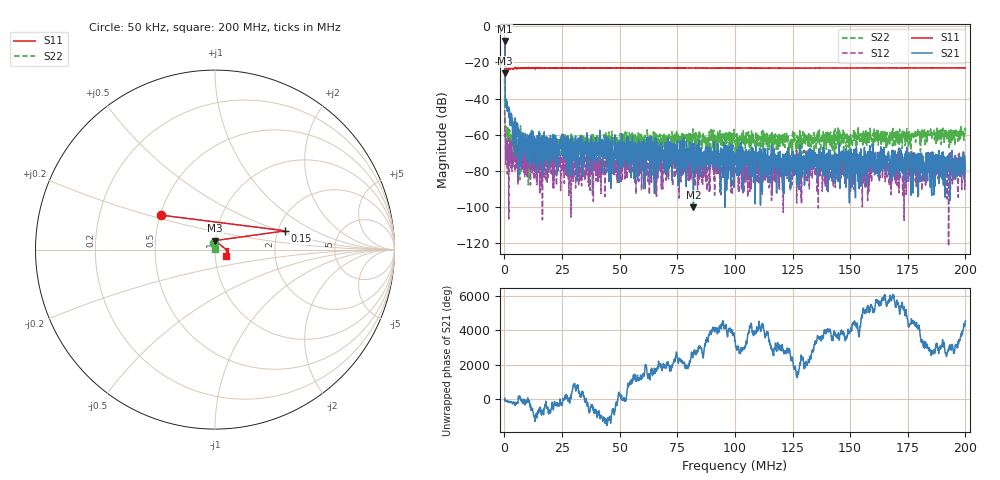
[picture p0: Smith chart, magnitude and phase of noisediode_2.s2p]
! 26-Feb-26 2:03:41 PM
! E:\VNA_MEASUREMENTS\CAL_ENDS\NOISEDIODE_2.S2P
! CHANNEL.1
! TR.MEASUREMENT
! CORRECTED.DATA
# GHZ S RI R 50.0
! FREQ.GHZ  S11RE  S11IM  S21RE  S21IM  S12RE  S12IM  S22RE  S22IM
!; PortSelection: Port_12
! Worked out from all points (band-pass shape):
!   2000 points, 50 kHz to 200 MHz, reference 50 ohm
!   highest |S21| = -8.16 dB at 50 kHz (marker M1); lowest = -100.2 dB at 81.97 MHz (marker M2)
!   |S21| within 3 dB of the highest: start of sweep to 204.8 kHz
!   lowest |S11| = -26.0 dB at 250 kHz (marker M3), VSWR 1.11, Z = 49.8 + j5.01 ohm
!   |S11| at or under -10 dB: 161.9 kHz to end of sweep
!   |S22| runs from -92.9 to -28.8 dB; largest |S21 - S12| = 0.39
!   S11 on the Smith chart (normalised r, x): 50 kHz: 0.51, +0.22; 150 kHz: 2.19, +0.55; 200 MHz: 1.12, -0.08
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5e-05  -0.2999 0.192  0.3307 0.2082  -0.0022 0.00437  -0.00716 0.0354
0.000150025  0.3913 0.1046  -0.1895 -0.273  -0.000825 -0.000513  0.00222 -0.00224
0.00025005  0.000309 0.0502  0.2241 -0.0796  0.000205 -0.000882  -0.00129 -0.00169
0.001550375  0.0701 -0.00473  -0.00501 0.000408  6.82e-05 -0.000139  0.00146 0.000484
0.004151026  0.0722 4.3e-06  -0.00108 0.00109  -0.00036 0.000117  0.000203 0.000119
0.006851701  0.0709 -0.0015  0.000371 0.000569  0.000246 -0.000104  0.000414 0.000145
0.008352076  0.0699 -0.00201  0.000331 -0.000852  -2.86e-05 0.00024  0.000882 -0.000203
0.0104526  0.0724 -0.00132  -0.000358 -0.000214  0.000165 0.000135  0.00037 -0.000165
0.0144536  0.0686 -0.004  0.00014 4.52e-05  -7.88e-05 -0.000134  0.000122 0.000299
0.03345835  0.07 -0.00669  0.000118 -0.000235  -1.11e-05 -3.67e-05  0.000887 0.000391
0.06676668  0.0681 -0.0122  -0.000176 -0.000256  -0.000202 0.000244  0.000527 0.000342
0.08197048  0.0685 -0.0145  5.1e-06 8.3e-06  4.99e-05 5.95e-05  0.000481 0.000606
0.100075  0.0676 -0.018  -0.000258 0.000167  6.08e-05 -5.07e-05  0.000594 0.000291
0.1268817  0.0655 -0.024  1.68e-05 -3.97e-05  -0.000211 -0.000297  0.000435 0.000412
0.1333833  0.0645 -0.0249  1.2e-05 -0.00038  -6.24e-05 -0.000169  0.000646 0.000453
0.140085  0.0649 -0.0265  -0.000103 0.000293  -7.94e-05 -7.59e-05  0.000795 0.000388
0.1468867  0.0645 -0.0274  -0.00033 -9.77e-05  -0.000125 -7.92e-05  0.000779 0.00108
0.1503876  0.064 -0.0288  -0.000276 -4.35e-05  -8.8e-06 -9.3e-05  0.000602 1.54e-05
0.1585896  0.0635 -0.0306  -0.000154 0.000258  0.000141 -5.17e-05  0.000585 0.000654
0.1610903  0.0631 -0.0309  -1.47e-05 -0.00021  3.38e-05 -8.07e-05  0.000777 0.00029
0.1666917  0.0627 -0.0311  -0.000296 -0.000101  -7.46e-05 0.000139  0.000582 0.000659
0.2  0.0601 -0.0364  -6.93e-05 -7.48e-05  -0.000133 -3.15e-05  0.000356 0.00113
